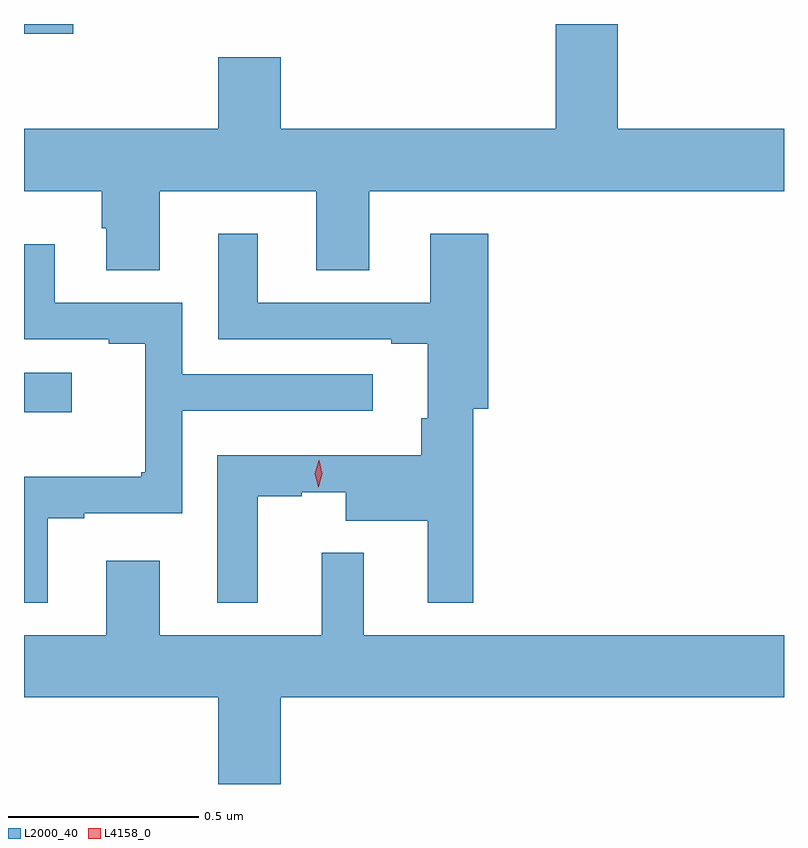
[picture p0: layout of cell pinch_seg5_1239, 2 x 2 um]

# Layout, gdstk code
import gdstk
lib = gdstk.Library(unit=1e-6, precision=1e-09)
def R(c, l, rs):  # rectangles x0, y0, x1, y1
    for r in rs: c.add(gdstk.rectangle(r[:2], r[2:], *l))
def P(c, l, *ps):  # polygons
    for p in ps: c.add(gdstk.Polygon(p, *l))
L2000_40 = (2000, 40)
L4158_0 = (4158, 0)

pinch_seg5_1239 = lib.new_cell('pinch_seg5_1239')
R(pinch_seg5_1239, L2000_40, [(560.101,893.474,560.227,893.578), (560.101,894.471,560.231,894.496)])
P(pinch_seg5_1239, L2000_40, [(560.458,894.056),(560.87,894.056),(560.87,893.848),(561.01,893.848),(561.01,894.056),(562.101,894.056),(562.101,894.22),(561.664,894.22),(561.664,894.496),(561.5,894.496),(561.5,894.22),(560.776,894.22),(560.776,894.409),(560.612,894.409),(560.612,894.22),(560.101,894.22),(560.101,894.056),(560.306,894.056),(560.306,893.958),(560.318,893.958),(560.318,893.848),(560.458,893.848)],
  [(560.716,893.253),(560.832,893.253),(560.832,893.264),(560.948,893.264),(560.948,893.189),(561.164,893.189),(561.164,892.973),(561.283,892.973),(561.283,893.483),(561.323,893.483),(561.323,893.944),(561.17,893.944),(561.17,893.763),(560.716,893.763),(560.716,893.944),(560.612,893.944),(560.612,893.667),(561.068,893.667),(561.068,893.655),(561.164,893.655),(561.164,893.458),(561.147,893.458),(561.147,893.361),(560.609,893.361),(560.609,892.973),(560.716,892.973)],
  [(560.164,893.196),(560.26,893.196),(560.26,893.208),(560.517,893.208),(560.517,893.478),(561.019,893.478),(561.019,893.574),(560.517,893.574),(560.517,893.763),(560.182,893.763),(560.182,893.917),(560.101,893.917),(560.101,893.667),(560.324,893.667),(560.324,893.655),(560.42,893.655),(560.42,893.317),(560.409,893.317),(560.409,893.305),(560.101,893.305),(560.101,892.973),(560.164,892.973)],
  [(560.776,892.724),(562.101,892.724),(562.101,892.888),(560.995,892.888),(560.995,893.104),(560.885,893.104),(560.885,892.888),(560.458,892.888),(560.458,893.083),(560.318,893.083),(560.318,892.888),(560.101,892.888),(560.101,892.724),(560.612,892.724),(560.612,892.496),(560.776,892.496)])
P(pinch_seg5_1239, L4158_0, [(560.875,893.277),(560.875,893.278),(560.866,893.313),(560.877,893.348),(560.878,893.348),(560.878,893.348),(560.886,893.313),(560.876,893.278)])

lib.write_gds('pinch_seg5_1239.gds')
